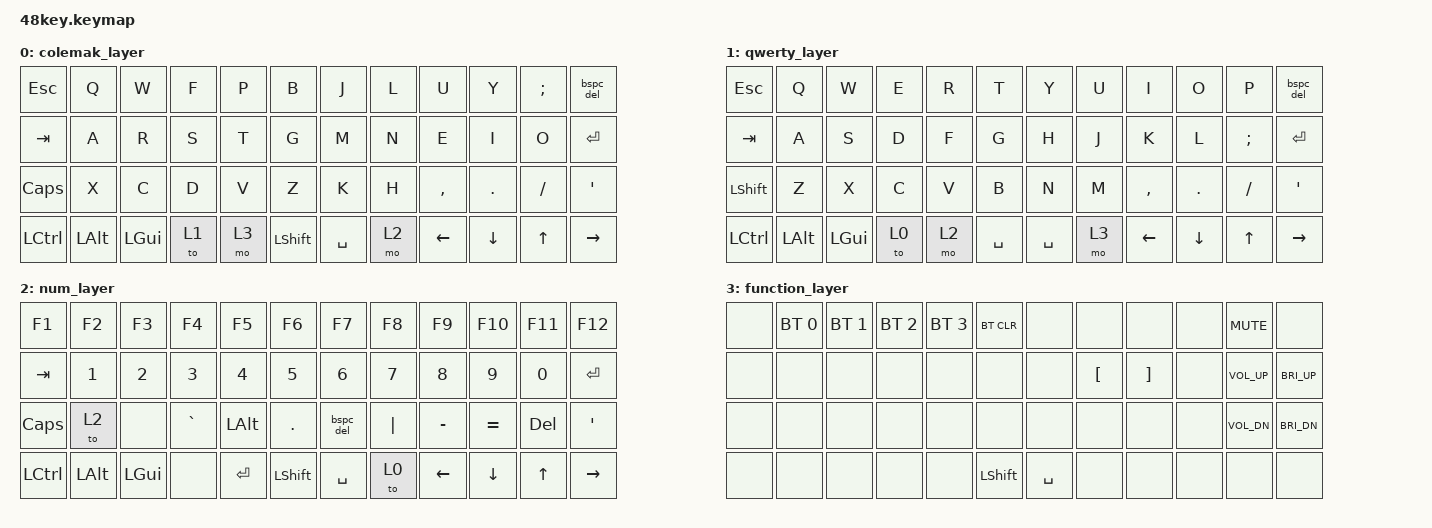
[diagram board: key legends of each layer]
#include <behaviors.dtsi>
#include <dt-bindings/zmk/keys.h>
#include <dt-bindings/zmk/bt.h>


/ {
    behaviors {
        bspc_del: backspace_delete {
            compatible = "zmk,behavior-mod-morph";
            #binding-cells = <0>;
            bindings = <&kp BACKSPACE>, <&kp DELETE>;
            mods = <(MOD_LSFT|MOD_RSFT)>;
        };
    };

    keymap{
        compatible = "zmk,keymap";

        colemak_layer{
            bindings = <
                &kp ESC     &kp Q       &kp W    &kp F  &kp P   &kp B       &kp J       &kp L   &kp U       &kp Y       &kp SEMI    &bspc_del
                &kp TAB     &kp A       &kp R    &kp S  &kp T   &kp G       &kp M       &kp N   &kp E       &kp I       &kp O       &kp ENTER
                &kp CAPS    &kp X       &kp C    &kp D  &kp V   &kp Z       &kp K       &kp H   &kp COMMA   &kp DOT     &kp SLASH   &kp APOS
                &kp LCTRL   &kp LALT    &kp LGUI &to 1  &mo 3   &kp LSHIFT  &kp SPACE   &mo 2   &kp LEFT    &kp DOWN    &kp UP      &kp RIGHT
            >;
        };

        qwerty_layer{
            bindings = <
                &kp ESC     &kp Q       &kp W       &kp E   &kp R   &kp T       &kp Y       &kp U   &kp I       &kp O       &kp P       &bspc_del
                &kp TAB     &kp A       &kp S       &kp D   &kp F   &kp G       &kp H       &kp J   &kp K       &kp L       &kp SEMI    &kp ENTER
                &kp LSHIFT    &kp Z       &kp X       &kp C   &kp V   &kp B       &kp N       &kp M   &kp COMMA   &kp DOT     &kp SLASH   &kp APOS
                &kp LCTRL   &kp LALT    &kp LGUI    &to 0   &mo 2   &kp SPACE  &kp SPACE   &mo 3   &kp LEFT    &kp DOWN    &kp UP      &kp RIGHT
            >;
        };

        num_layer{
            bindings = <
                &kp F1      &kp F2      &kp F3      &kp F4  &kp F5  &kp F6      &kp F7      &kp F8      &kp F9      &kp F10     &kp F11     &kp F12
                &kp TAB     &kp N1      &kp N2      &kp N3  &kp N4  &kp N5      &kp N6      &kp N7      &kp N8      &kp N9      &kp N0      &kp ENTER
                &kp CAPS    &to 2       &none       &kp GRAVE   &kp LALT   &kp DOT      &bspc_del       &kp PIPE    &kp MINUS       &kp EQUAL       &kp DEL       &kp APOS
                &kp LCTRL   &kp LALT    &kp LGUI    &none   &kp ENTER   &kp LSHIFT  &kp SPACE   &to 0       &kp LEFT    &kp DOWN    &kp UP      &kp RIGHT
            >;
        };

        function_layer{
            bindings = <
                &none   &bt BT_SEL 0  &bt BT_SEL 1    &bt BT_SEL 2    &bt BT_SEL 3    &bt BT_CLR  &none       &none       &none       &none   &kp C_MUTE      &none
                &none   &none         &none           &none           &none           &none       &none       &kp LBKT    &kp RBKT    &none   &kp C_VOL_UP    &kp C_BRI_UP
                &none   &none         &none           &none           &none           &none       &none       &none       &none       &none   &kp C_VOL_DN    &kp C_BRI_DN
                &none   &none         &none           &none           &none           &kp LSHIFT  &kp SPACE   &none       &none       &none   &none           &none
            >;
        };
        
        
    };

};









